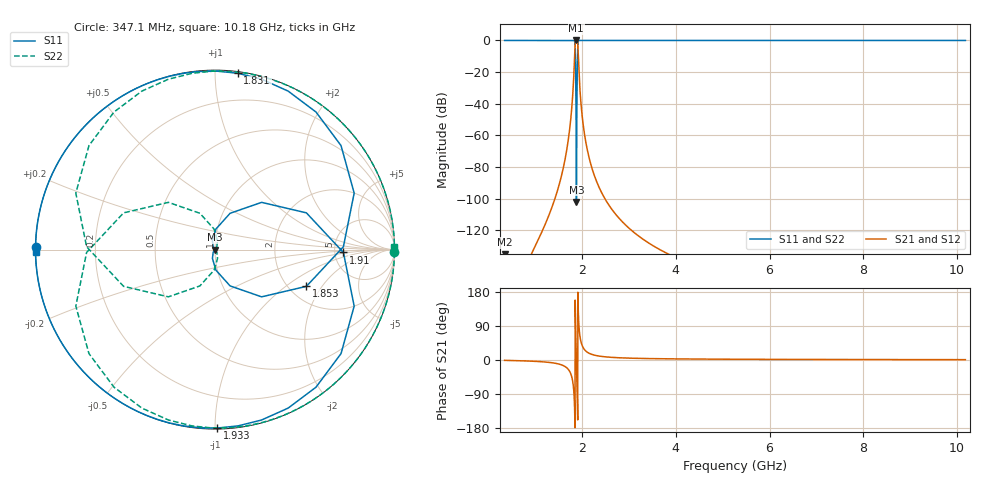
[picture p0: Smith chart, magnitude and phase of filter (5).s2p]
! rf-tools.com
! Date: Thu Jan 30 2020 11:07:57 GMT+0000 (格林尼治标准时间)
# Hz S DB R 50.00
!Frequency  S11 dB  S11 Deg  S21 dB  S21 Deg  S12 dB  S12 Deg  S22 dB  S22 Deg
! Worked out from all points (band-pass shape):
!   2000 points, 347.1 MHz to 10.18 GHz, reference 50 ohm
!   highest |S21| = 0.00 dB at 1.875 GHz (marker M1); lowest = -177.2 dB at 347.1 MHz (marker M2)
!   |S21| within 3 dB of the highest: 1.85 GHz to 1.91 GHz (59.89 MHz wide, 3.19 % of centre)
!   lowest |S11| = -102.1 dB at 1.878 GHz (marker M3), VSWR 1.00, Z = 50 - j0.000108 ohm
!   |S11| at or under -10 dB: 1.857 GHz to 1.903 GHz (45.76 MHz wide, 2.43 % of centre)
!   |S22| runs from -102.1 to 0.0 dB; largest |S21 - S12| = 0
!   S11 on the Smith chart (normalised r, x): 347.1 MHz: 0.00, +0.01; 1.831 GHz: 0.01, +1.14; 1.853 GHz: 2.47, -1.45; 1.91 GHz: 6.01, -0.39; 1.933 GHz: 0.01, -1.01; 10.18 GHz: 0.00, -0.01
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3.47119e8  0.00 179.1  -177.16 -0.9  -177.16 -0.9  0.00 -0.9
1.591492e9  -0.00 165.7  -81.63 -14.3  -81.63 -14.3  -0.00 -14.3
1.660176e9  -0.00 160.8  -71.38 -19.2  -71.38 -19.2  -0.00 -19.2
1.740628e9  -0.00 148.8  -54.67 -31.2  -54.67 -31.2  -0.00 -31.2
1.809622e9  -0.00 115.4  -30.18 -64.6  -30.18 -64.6  -0.00 -64.6
1.831157e9  -0.08 82.6  -17.30 -97.4  -17.30 -97.4  -0.08 -97.4
1.85295e9  -5.21 -21.9  -1.56 158.1  -1.56 158.1  -5.21 158.1
1.875001e9  -63.92 -156.1  -0.00 23.9  -0.00 23.9  -63.92 23.9
1.878173e9  -102.09 -172.1  -0.00 7.9  -0.00 7.9  -102.09 7.9
1.897315e9  -18.84 87.5  -0.06 -92.5  -0.06 -92.5  -18.84 -92.5
1.910185e9  -2.91 -1.3  -3.12 178.7  -3.12 178.7  -2.91 178.7
1.919895e9  -0.44 -53.7  -10.18 126.3  -10.18 126.3  -0.44 126.3
1.932918e9  -0.05 -89.4  -19.44 90.6  -19.44 90.6  -0.05 90.6
1.952618e9  -0.00 -115.4  -30.18 64.6  -30.18 64.6  -0.00 64.6
1.985899e9  -0.00 -136.0  -42.96 44.0  -42.96 44.0  -0.00 44.0
2.092719e9  -0.00 -157.7  -66.28 22.3  -66.28 22.3  -0.00 22.3
2.223999e9  -0.00 -165.8  -81.98 14.2  -81.98 14.2  -0.00 14.2
3.624583e9  -0.00 -176.6  -131.60 3.4  -131.60 3.4  -0.00 3.4
5.26587e9  -0.00 -178.0  -150.73 2.0  -150.73 2.0  -0.00 2.0
6.91262e9  -0.00 -178.6  -162.25 1.4  -162.25 1.4  0.00 1.4
8.55314e9  0.00 -178.9  -170.60 1.1  -170.60 1.1  -0.00 1.1
1.01795e10  0.00 -179.1  -177.16 0.9  -177.16 0.9  0.00 0.9
